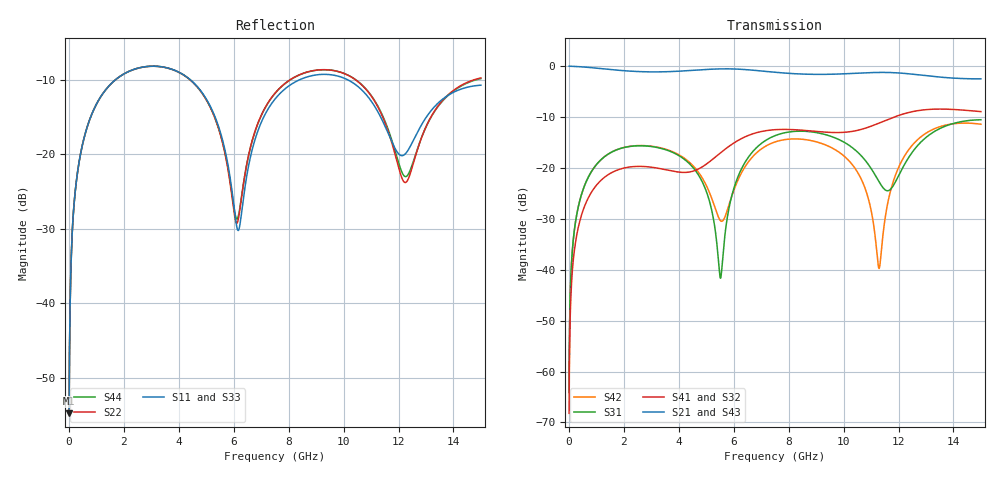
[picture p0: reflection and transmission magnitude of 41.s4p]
! Created with skrf 1.8.0 (http://scikit-rf.org).
# GHz S RI R 50.0
!freq ReS11 ImS11 ReS12 ImS12 ReS13 ImS13
! ReS14 ImS14
! ReS21 ImS21 ReS22 ImS22 ReS23 ImS23
! ReS24 ImS24
! ReS31 ImS31 ReS32 ImS32 ReS33 ImS33
! ReS34 ImS34
! ReS41 ImS41 ReS42 ImS42 ReS43 ImS43
! ReS44 ImS44
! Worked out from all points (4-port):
!   2499 points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, 5 MHz to 15 GHz, reference 50 ohm
!   strongest paths, dB at 5 MHz, 3.476 GHz, 7.19 GHz, 11.1 GHz, 15 GHz:
!     S21: 0.0, -1.1, -1.1, -1.3, -2.5
!     S43: 0.0, -1.1, -1.1, -1.3, -2.5
!     S41: -68.2, -20.3, -12.7, -11.6, -8.9
!     S32: -68.2, -20.4, -12.7, -11.6, -9.0
!     S31: -64.1, -16.3, -14.5, -20.9, -10.5
!     S42: -64.1, -16.3, -15.6, -31.3, -11.4
!   lowest |S11| = -54.7 dB at 5 MHz (marker M1), VSWR 1.00, Z = 50.1 + j0.111 ohm
!   |S11| at or under -10 dB: start of sweep to 1.695 GHz; 4.417 GHz to 8.401 GHz (3.984 GHz wide, 62.2 % of centre); 10.14 GHz to end of sweep
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0.005  0.00146 0.00111  0.9985 -0.00285  7.43e-05 0.00062  -7.2e-05 -0.000382
       0.9985 -0.00285  0.00146 0.00111  -7.2e-05 -0.000382  7.43e-05 0.00062
       7.43e-05 0.00062  -7.2e-05 -0.000382  0.00146 0.00111  0.9985 -0.00285
       -7.2e-05 -0.000382  7.43e-05 0.00062  0.9985 -0.00285  0.00146 0.00111
0.3126303  0.0199 0.0734  0.9729 -0.1779  0.00945 0.0372  -0.00784 -0.0228
           0.9729 -0.1779  0.0199 0.0734  -0.00783 -0.0228  0.0095 0.0372
           0.00945 0.0372  -0.00783 -0.0228  0.0199 0.0734  0.9729 -0.1779
           -0.00784 -0.0228  0.0095 0.0372  0.9729 -0.1779  0.0199 0.0734
1.519383  0.2282 0.1875  0.633 -0.6744  0.1185 0.0771  -0.0866 -0.02
          0.633 -0.6744  0.2281 0.1875  -0.0864 -0.0201  0.1194 0.0761
          0.1185 0.0771  -0.0864 -0.0201  0.2283 0.1875  0.633 -0.6744
          -0.0866 -0.02  0.1194 0.0761  0.633 -0.6744  0.2281 0.1876
5.514798  0.0686 -0.1221  -0.8617 -0.3733  0.0082 0.001  -0.05 0.1312
          -0.8617 -0.3733  0.0692 -0.1158  -0.0529 0.13  -0.027 -0.0139
          0.0082 0.001  -0.0529 0.13  0.0677 -0.1241  -0.8614 -0.3734
          -0.05 0.1312  -0.027 -0.0139  -0.8614 -0.3734  0.0715 -0.1164
9.604002  0.3384 -0.0333  0.0256 0.8321  0.1533 -0.1305  0.2088 -0.0777
          0.0256 0.8321  0.3592 -0.0662  0.2092 -0.0701  0.1489 -0.046
          0.1533 -0.1305  0.2092 -0.0701  0.3407 -0.0354  0.027 0.8316
          0.2088 -0.0777  0.1489 -0.046  0.027 0.8316  0.359 -0.0665
11.29221  0.15 -0.1105  0.665 0.5562  -0.0472 -0.0559  0.1651 -0.2208
          0.665 0.5562  0.1327 -0.1502  0.1744 -0.2136  -0.00917 -0.00467
          -0.0472 -0.0559  0.1744 -0.2136  0.1477 -0.1155  0.6658 0.5544
          0.1651 -0.2208  -0.00917 -0.00467  0.6658 0.5544  0.1371 -0.1501
15  0.2905 -0.000419  0.3346 -0.6705  0.2925 -0.0524  -0.3545 -0.0442
    0.3346 -0.6705  0.3247 0.0105  -0.3483 -0.0595  0.268 0.0192
    0.2925 -0.0524  -0.3483 -0.0595  0.297 -0.00162  0.3295 -0.6723
    -0.3545 -0.0442  0.268 0.0192  0.3295 -0.6723  0.3218 0.00637
